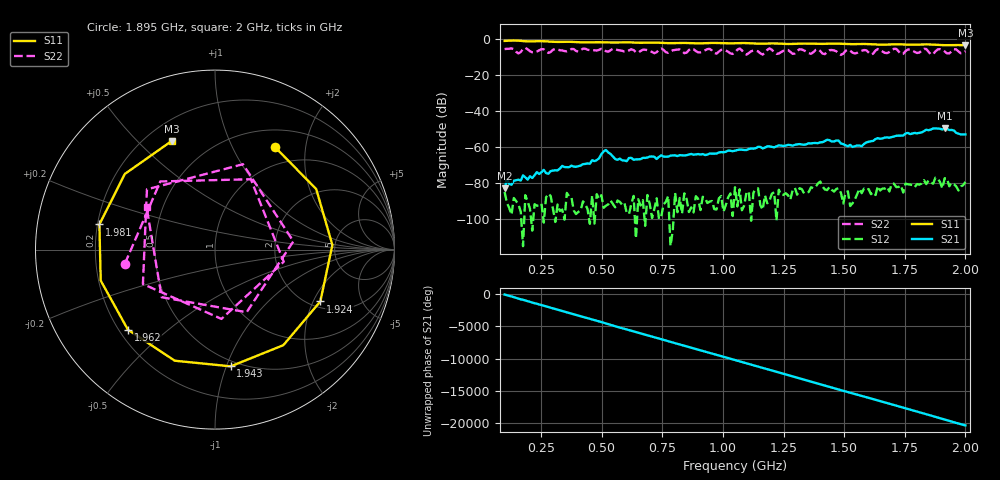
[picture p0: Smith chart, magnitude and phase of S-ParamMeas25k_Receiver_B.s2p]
!Keysight Technologies,N5242B,MY48420967,A.15.65.19
!Date: Saturday, February 04, 2023 02:09:13
!Correction: S11(C  1-Port  )
!S21(Off)
!S12(Off)
!S22(Off)
!S2P File: Measurements: S11, S21, S12, S22:
# Hz S  dB  R 50
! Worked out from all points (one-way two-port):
!   201 points, 100 MHz to 2 GHz, reference 50 ohm
!   highest |S21| = -49.84 dB at 1.915 GHz (marker M1); lowest = -83.0 dB at 100 MHz (marker M2)
!   lowest |S11| = -3.7 dB at 2 GHz (marker M3), VSWR 4.73, Z = 15.1 + j31.7 ohm
!   |S11| at or under -10 dB: nowhere
!   |S22| runs from -9.1 to -5.1 dB; largest |S21 - S12| = 0.0034
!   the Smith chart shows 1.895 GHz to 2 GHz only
!   S11 on the Smith chart (normalised r, x): 1.895 GHz: 0.73, +1.49; 1.924 GHz: 2.25, -2.27; 1.943 GHz: 0.45, -1.04; 1.962 GHz: 0.24, -0.37; 1.981 GHz: 0.21, +0.10; 2 GHz: 0.30, +0.63
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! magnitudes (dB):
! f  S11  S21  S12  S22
! 100 MHz  -1.3  -83.0  -85.0  -5.8
! 157 MHz  -1.2  -78.3  -92.0  -8.3
! 185.5 MHz  -1.5  -77.0  -86.8  -5.1
! 423 MHz  -2.1  -69.6  -90.3  -5.6
! 518 MHz  -2.2  -61.8  -92.7  -7.0
! 603.5 MHz  -2.1  -68.0  -96.6  -7.3
! 736.5 MHz  -2.3  -65.6  -100.1  -6.2
! 1.05 GHz  -2.6  -62.2  -82.5  -7.6
! 1.373 GHz  -2.9  -57.9  -83.0  -7.6
! 1.478 GHz  -2.8  -56.6  -83.0  -8.2
! 1.534 GHz  -3.1  -60.1  -91.3  -7.8
! 1.687 GHz  -3.3  -55.0  -84.8  -7.5
! 1.829 GHz  -3.3  -51.4  -78.5  -5.7
! 1.857 GHz  -3.3  -50.4  -79.8  -8.8
! 1.877 GHz  -3.4  -49.9  -77.1  -7.1
! 1.895 GHz  -3.6  -50.0  -79.6  -5.9
! 1.915 GHz  -3.7  -49.8  -77.4  -7.1
! 1.924 GHz  -3.7  -50.0  -77.5  -8.2
! 1.943 GHz  -3.7  -50.6  -80.0  -7.0
! 1.962 GHz  -3.6  -52.3  -82.0  -6.0
! 1.981 GHz  -3.6  -53.2  -82.0  -8.2
! 2 GHz  -3.7  -53.1  -79.5  -7.0
